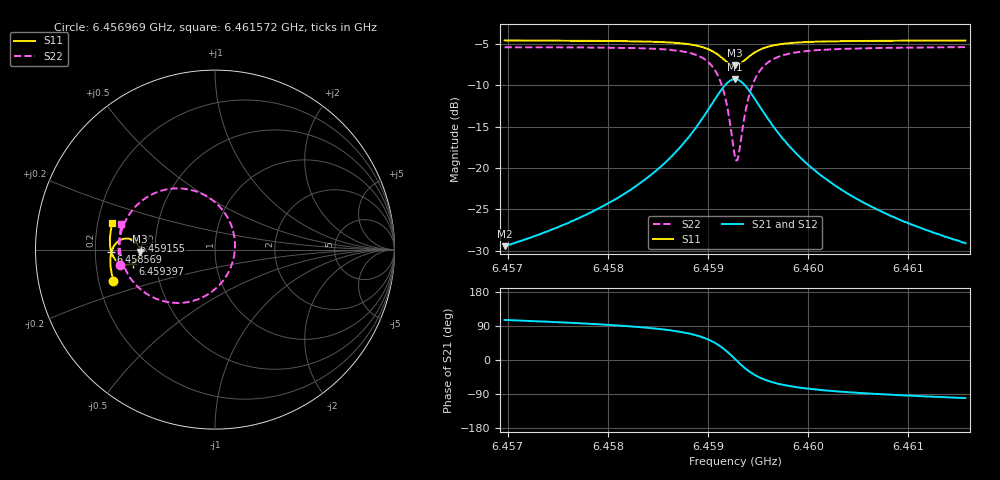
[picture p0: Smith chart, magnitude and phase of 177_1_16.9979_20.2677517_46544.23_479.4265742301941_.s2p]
#  HZ  S  RI  R  50.00
! Rohde & Schwarz Vector Network Analyzer
! Rohde-Schwarz,ZNB20-2Port,1311601062101988,3.16
! Created: UTC 3/20/2024, 10:59:59 PM
! freq[Hz]  re:S11  im:S11  re:S21  im:S21  re:S12  im:S12  re:S22  im:S22
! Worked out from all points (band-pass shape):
!   401 points, 6.456969 GHz to 6.461572 GHz, reference 50 ohm
!   highest |S21| = -9.24 dB at 6.459271 GHz (marker M1); lowest = -29.5 dB at 6.456969 GHz (marker M2)
!   |S21| within 3 dB of the highest: 6.45904 GHz to 6.4595 GHz (460.1 kHz wide, 0.00712 % of centre)
!   lowest |S11| = -7.6 dB at 6.459271 GHz (marker M3), VSWR 2.44, Z = 20.5 - j0.593 ohm
!   |S11| at or under -10 dB: nowhere
!   |S22| runs from -19.1 to -5.4 dB; largest |S21 - S12| = 0.014
!   S11 on the Smith chart (normalised r, x): 6.456969 GHz: 0.26, -0.14; 6.458569 GHz: 0.27, -0.01; 6.459155 GHz: 0.37, +0.05; 6.459397 GHz: 0.37, -0.07; 6.461572 GHz: 0.26, +0.12
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6.4569689e9  -0.5659 -0.1741  -0.00911 0.0324  -0.00733 0.0323  -0.5314 -0.0875
6.4577399e9  -0.5803 -0.1069  -0.00589 0.0505  -0.00336 0.0498  -0.5371 0.00258
6.4581197e9  -0.5832 -0.069  -0.000761 0.0671  0.00223 0.066  -0.5311 0.0616
6.458511e9  -0.5795 -0.0228  0.0138 0.0987  0.0178 0.0961  -0.5044 0.1479
6.4585685e9  -0.5778 -0.0148  0.018 0.1056  0.0222 0.1026  -0.4963 0.1643
6.4587757e9  -0.5649 0.0173  0.0456 0.1382  0.0497 0.1333  -0.4451 0.2373
6.4589253e9  -0.5422 0.0437  0.0908 0.1689  0.0939 0.1622  -0.3621 0.3022
6.4590634e9  -0.4984 0.0614  0.1778 0.1857  0.1788 0.1783  -0.2029 0.3413
6.4591555e9  -0.4538 0.0512  0.2679 0.1547  0.2682 0.1488  -0.0365 0.2913
6.4592245e9  -0.4246 0.0191  0.3286 0.083  0.3307 0.0776  0.079 0.1623
6.4592705e9  -0.4176 -0.0119  0.345 0.015  0.3486 0.00811  0.1113 0.0357
6.4592821e9  -0.4181 -0.02  0.3449 -0.00269  0.3486 -0.0102  0.111 0.00233
6.4593051e9  -0.4216 -0.0356  0.3393 -0.0373  0.3432 -0.0464  0.0999 -0.0634
6.4593511e9  -0.4371 -0.0618  0.311 -0.0973  0.3131 -0.1091  0.0427 -0.1762
6.4593971e9  -0.4591 -0.0779  0.2689 -0.1383  0.2682 -0.1515  -0.0419 -0.2511
6.4594892e9  -0.5025 -0.0849  0.1844 -0.1696  0.1784 -0.1811  -0.2101 -0.2974
6.4596388e9  -0.5464 -0.0645  0.0966 -0.1561  0.0882 -0.1622  -0.3771 -0.2488
6.4597999e9  -0.5681 -0.0368  0.0519 -0.1284  0.0443 -0.1312  -0.4576 -0.1771
6.4600416e9  -0.5809 -0.00138  0.0226 -0.097  0.0169 -0.0976  -0.5056 -0.0952
6.4603869e9  -0.5856 0.0395  0.00666 -0.0702  0.00252 -0.0698  -0.5274 -0.0162
6.4608127e9  -0.5837 0.0823  -0.00128 -0.0518  -0.00404 -0.051  -0.5321 0.052
6.4615722e9  -0.5717 0.1497  -0.00641 -0.0345  -0.0081 -0.0335  -0.521 0.1413
